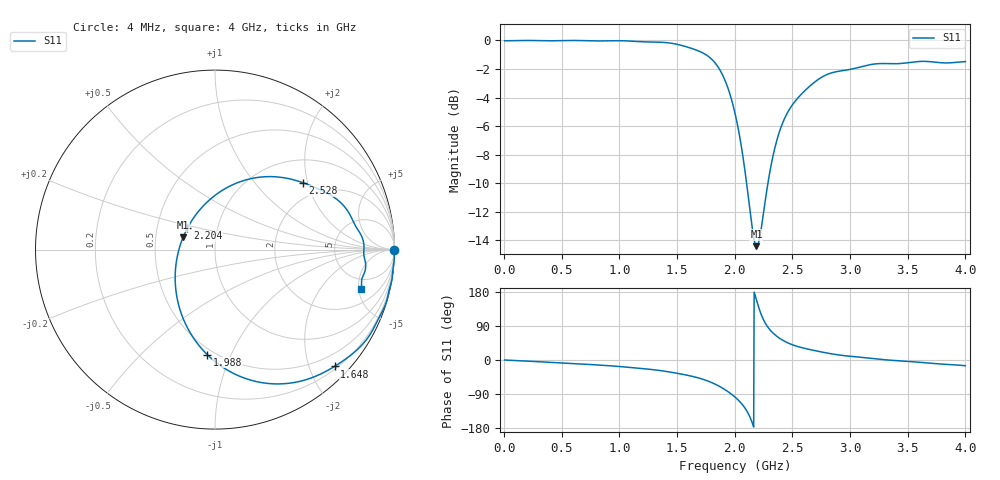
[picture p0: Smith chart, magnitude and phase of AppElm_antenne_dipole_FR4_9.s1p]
! TOUCHSTONE file generated by CST MICROWAVE STUDIO
! Date and time: Thu May 12 15:49:40 2022
! Project name: AppElm_antenne_dipole_FR4.cst
! Parameters = {L=44.62; e=0.035; f=2.45e+09; h=1.6; i=0.8; l1=4; lambda=122.449; ls=30; wl=1.7; ws=80}
! Header version: 2018
! Port assignment regex: !\s*Touchstone port\s*([0-9]+)\s*=\s*(CST MWS port|CST DS port)\s*([0-9]+|Zmin|Zmax)\s*\(\"(.*)\"\)(\s*mode\s*([0-9]+))?.*
! Touchstone port assignment:
! Touchstone port 1 = CST MWS port 1 ("")
# GHz S MA R 50
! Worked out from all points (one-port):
!   1000 points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, 4 MHz to 4 GHz, reference 50 ohm
!   lowest |S11| = -14.4 dB at 2.188 GHz (marker M1), VSWR 1.47, Z = 34.6 + j4.94 ohm
!   |S11| at or under -10 dB: 2.103 GHz to 2.287 GHz (184.7 MHz wide, 8.41 % of centre)
!   S11 on the Smith chart (normalised r, x): 4 MHz: open; 1.648 GHz: 0.25, -2.43; 1.988 GHz: 0.46, -0.82; 2.204 GHz: 0.71, +0.18; 2.528 GHz: 1.56, +1.87; 4 GHz: 3.50, -5.30
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0.004  0.9974 -0.1
0.504  0.9986 -7.5
1.004  0.9979 -17.3
1.328  0.9864 -26.9
1.504  0.9685 -35.2
1.648  0.9312 -44.4
1.756  0.8883 -54.3
1.856  0.8067 -67.8
1.924  0.7108 -79.9
1.988  0.587 -94.2
2.004  0.5516 -98.3
2.056  0.4284 -114.0
2.1  0.3223 -132.2
2.156  0.2138 -169.6
2.188  0.1906 158.9
2.204  0.1947 142.6
2.228  0.2178 121.1
2.272  0.2886 93.5
2.336  0.4018 69.9
2.408  0.5057 53.5
2.504  0.5985 39.7
2.528  0.6161 37.2
2.644  0.6884 28.0
2.772  0.7507 20.0
3.004  0.7926 9.8
3.22  0.828 3.1
3.504  0.8361 -3.7
4  0.843 -15.1
